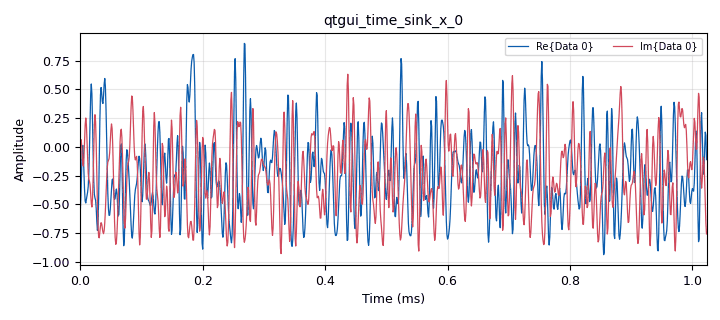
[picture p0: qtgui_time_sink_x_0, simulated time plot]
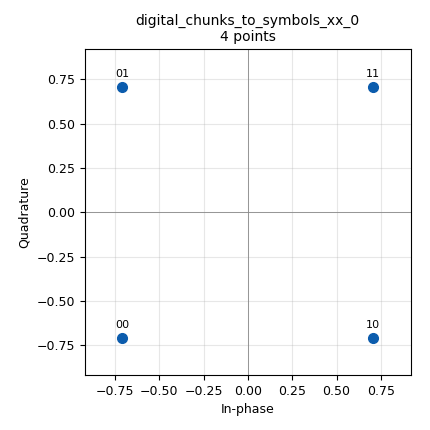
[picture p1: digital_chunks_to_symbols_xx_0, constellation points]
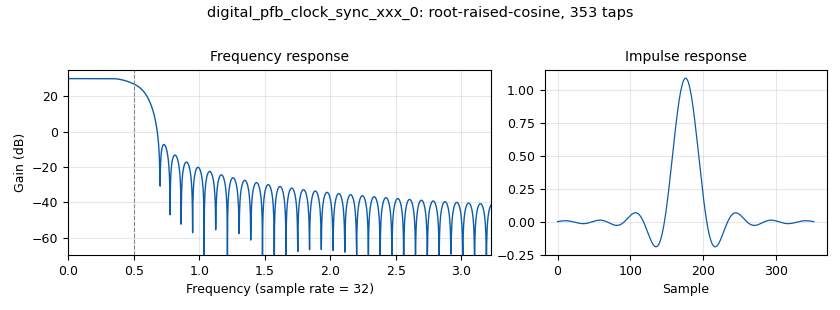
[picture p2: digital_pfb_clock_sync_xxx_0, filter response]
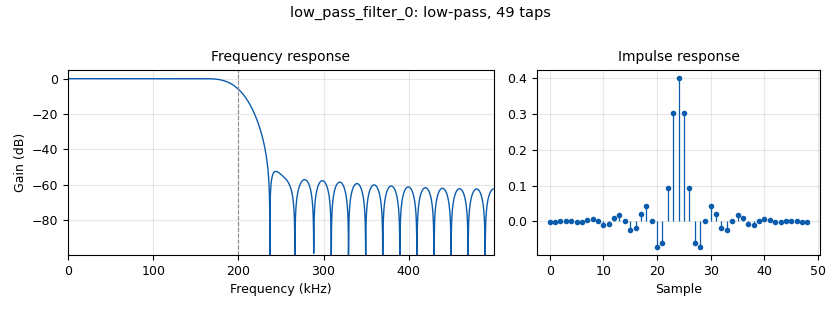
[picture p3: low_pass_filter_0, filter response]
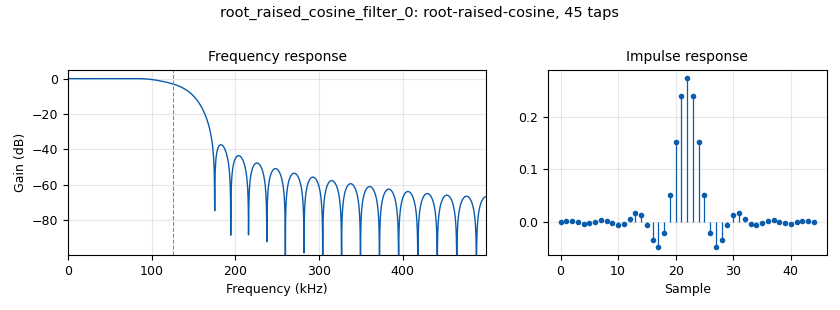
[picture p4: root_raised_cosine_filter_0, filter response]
options:
  parameters:
    author: kumar anil
    generate_options: qt_gui
    id: Frequency_locked_loop
    output_language: python
    title: FLL
  states: {}

blocks:
- name: samp_rate
  id: variable
  parameters:
    value: '1000000'
  states: {}
- name: analog_agc_xx_0
  id: analog_agc_xx
  parameters:
    gain: '1.0'
    max_gain: '65536'
    rate: '1e-4'
    reference: '1.0'
    type: complex
  states: {}
- name: analog_random_source_x_0
  id: analog_random_source_x
  parameters:
    max: '3'
    min: '0'
    num_samps: '100000'
    repeat: 'True'
    type: byte
  states: {}
- name: digital_chunks_to_symbols_xx_0
  id: digital_chunks_to_symbols_xx
  parameters:
    dimension: '1'
    in_type: byte
    out_type: complex
    symbol_table: '[-0.707-0.707j, -0.707+0.707j, 0.707-0.707j, 0.707+0.707j]'
  states: {}
- name: digital_costas_loop_cc_0
  id: digital_costas_loop_cc
  parameters:
    order: '4'
    w: '0.0628'
  states: {}
- name: digital_fll_band_edge_cc_0
  id: digital_fll_band_edge_cc
  parameters:
    filter_size: '45'
    rolloff: '0.35'
    samps_per_sym: '4'
    type: cc
    w: '0.0628'
  states: {}
- name: digital_pfb_clock_sync_xxx_0
  id: digital_pfb_clock_sync_xxx
  parameters:
    filter_size: '32'
    init_phase: '0'
    loop_bw: '0.0628'
    max_dev: '1.5'
    osps: '1'
    sps: '4'
    taps: firdes.root_raised_cosine(32,32,1.0,0.35,11*32)
    type: ccf
  states: {}
- name: iio_pluto_sink_0
  id: iio_pluto_sink
  parameters:
    attenuation1: '-10.0'
    bandwidth: '1000000'
    buffer_size: '32768'
    cyclic: 'False'
    filter_source: '''Auto'''
    frequency: '2400000000'
    samplerate: samp_rate
    type: fc32
    uri: 192.168.2.1
  states: {}
- name: iio_pluto_source_0
  id: iio_pluto_source
  parameters:
    bandwidth: '1000000'
    bbdc: 'True'
    buffer_size: '32768'
    filter_source: '''Auto'''
    frequency: '2400000000'
    gain1: '''manual'''
    manual_gain1: '64'
    quadrature: 'True'
    rfdc: 'True'
    samplerate: samp_rate
    type: fc32
    uri: 192.168.2.1
  states: {}
- name: low_pass_filter_0
  id: low_pass_filter
  parameters:
    cutoff_freq: '200000'
    decim: '1'
    gain: '1'
    samp_rate: samp_rate
    type: fir_filter_ccf
    width: '50000'
    win: window.WIN_HAMMING
  states: {}
- name: qtgui_const_sink_x_0
  id: qtgui_const_sink_x
  parameters:
    size: '1024'
    type: complex
  states: {}
- name: qtgui_freq_sink_x_0
  id: qtgui_freq_sink_x
  parameters:
    bw: samp_rate
    fc: '0'
    fftsize: '1024'
    type: complex
  states: {}
- name: qtgui_time_sink_x_0
  id: qtgui_time_sink_x
  parameters:
    autoscale: 'True'
    size: '1024'
    srate: samp_rate
    type: complex
  states: {}
- name: qtgui_time_sink_x_1
  id: qtgui_time_sink_x
  parameters:
    size: '1024'
    srate: samp_rate
    type: complex
  states: {}
- name: root_raised_cosine_filter_0
  id: root_raised_cosine_filter
  parameters:
    alpha: '0.35'
    decim: '1'
    gain: '1'
    ntaps: '44'
    samp_rate: samp_rate
    sym_rate: samp_rate/4
    type: fir_filter_ccf
  states: {}

connections:
- [analog_agc_xx_0, '0', digital_fll_band_edge_cc_0, '0']
- [analog_random_source_x_0, '0', digital_chunks_to_symbols_xx_0, '0']
- [digital_chunks_to_symbols_xx_0, '0', root_raised_cosine_filter_0, '0']
- [digital_costas_loop_cc_0, '0', qtgui_const_sink_x_0, '0']
- [digital_costas_loop_cc_0, '0', qtgui_freq_sink_x_0, '0']
- [digital_costas_loop_cc_0, '0', qtgui_time_sink_x_1, '0']
- [digital_fll_band_edge_cc_0, '0', digital_pfb_clock_sync_xxx_0, '0']
- [digital_pfb_clock_sync_xxx_0, '0', digital_costas_loop_cc_0, '0']
- [iio_pluto_source_0, '0', low_pass_filter_0, '0']
- [low_pass_filter_0, '0', analog_agc_xx_0, '0']
- [root_raised_cosine_filter_0, '0', iio_pluto_sink_0, '0']
- [root_raised_cosine_filter_0, '0', qtgui_time_sink_x_0, '0']

metadata:
  file_format: 1
  grc_version: 3.10.12.0
